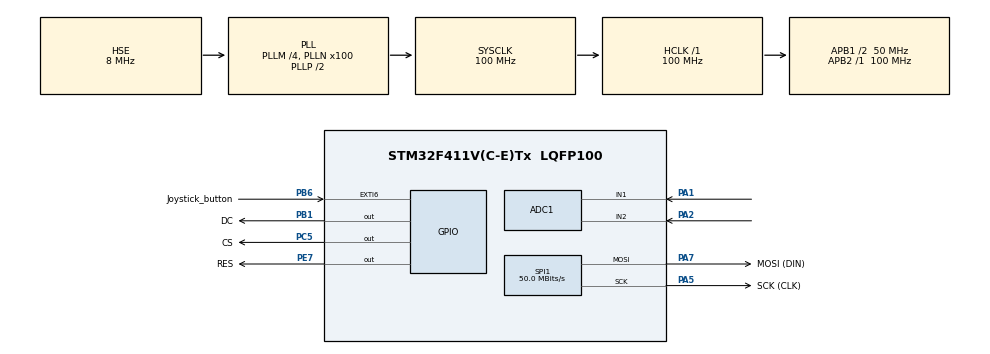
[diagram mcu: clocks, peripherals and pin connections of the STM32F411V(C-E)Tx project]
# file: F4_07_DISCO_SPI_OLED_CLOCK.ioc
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ADC1.Channel-0\#ChannelRegularConversion=ADC_CHANNEL_1
ADC1.Channel-1\#ChannelRegularConversion=ADC_CHANNEL_2
ADC1.ClockPrescaler=ADC_CLOCK_SYNC_PCLK_DIV8
ADC1.ContinuousConvMode=ENABLE
ADC1.DMAContinuousRequests=ENABLE
ADC1.NbrOfConversion=2
ADC1.NbrOfConversionFlag=1
ADC1.Rank-0\#ChannelRegularConversion=1
ADC1.Rank-1\#ChannelRegularConversion=2
ADC1.SamplingTime-0\#ChannelRegularConversion=ADC_SAMPLETIME_480CYCLES
ADC1.SamplingTime-1\#ChannelRegularConversion=ADC_SAMPLETIME_480CYCLES
ADC1.ScanConvMode=ENABLE
ADC1.master=1
Dma.ADC1.0.Direction=DMA_PERIPH_TO_MEMORY
Dma.ADC1.0.FIFOMode=DMA_FIFOMODE_DISABLE
Dma.ADC1.0.Instance=DMA2_Stream0
Dma.ADC1.0.MemDataAlignment=DMA_MDATAALIGN_HALFWORD
Dma.ADC1.0.MemInc=DMA_MINC_ENABLE
Dma.ADC1.0.Mode=DMA_CIRCULAR
Dma.ADC1.0.PeriphDataAlignment=DMA_PDATAALIGN_HALFWORD
Dma.ADC1.0.PeriphInc=DMA_PINC_DISABLE
Dma.ADC1.0.Priority=DMA_PRIORITY_LOW
Dma.Request0=ADC1
Mcu.Family=STM32F4
Mcu.Name=STM32F411V(C-E)Tx
Mcu.Package=LQFP100
NVIC.DMA2_Stream0_IRQn=true\:0\:0\:false\:false\:true\:false\:true\:true
NVIC.EXTI9_5_IRQn=true\:0\:0\:false\:false\:true\:true\:true\:true
NVIC.PriorityGroup=NVIC_PRIORITYGROUP_0
NVIC.TIM1_UP_TIM10_IRQn=true\:0\:0\:false\:false\:true\:true\:true\:true
PA1.Signal=ADCx_IN1
PA13.GPIO_Label=SWDIO
PA13.Mode=Serial_Wire
PA13.Signal=SYS_JTMS-SWDIO
PA14.GPIO_Label=SWCLK
PA14.Mode=Serial_Wire
PA14.Signal=SYS_JTCK-SWCLK
PA2.Signal=ADCx_IN2
PA5.GPIO_Label=SCK (CLK)
PA5.Mode=TX_Only_Simplex_Unidirect_Master
PA5.Signal=SPI1_SCK
PA7.GPIO_Label=MOSI (DIN)
PA7.Mode=TX_Only_Simplex_Unidirect_Master
PA7.Signal=SPI1_MOSI
PB1.GPIO_Label=DC
PB1.Signal=GPIO_Output
PB3.GPIO_Label=SWO
PB3.Signal=SYS_JTDO-SWO
PB6.GPIO_Label=Joystick_button
PB6.GPIO_PuPd=GPIO_NOPULL
PB6.Signal=GPXTI6
PC5.GPIO_Label=CS
PC5.Signal=GPIO_Output
PE7.GPIO_Label=RES
PE7.Signal=GPIO_Output
PH0\ -\ OSC_IN.GPIO_Label=PH0-OSC_IN
PH0\ -\ OSC_IN.Mode=HSE-External-Oscillator
PH0\ -\ OSC_IN.Signal=RCC_OSC_IN
PH1\ -\ OSC_OUT.GPIO_Label=PH1-OSC_OUT
PH1\ -\ OSC_OUT.Mode=HSE-External-Oscillator
PH1\ -\ OSC_OUT.Signal=RCC_OSC_OUT
ProjectManager.HeapSize=0x200
ProjectManager.StackSize=0x400
ProjectManager.TargetToolchain=STM32CubeIDE
RCC.48MHZClocksFreq_Value=25000000
RCC.AHBFreq_Value=100000000
RCC.APB1CLKDivider=RCC_HCLK_DIV2
RCC.APB1Freq_Value=50000000
RCC.APB1TimFreq_Value=100000000
RCC.APB2Freq_Value=100000000
RCC.APB2TimFreq_Value=100000000
RCC.CortexFreq_Value=100000000
RCC.HCLKFreq_Value=100000000
RCC.HSE_VALUE=8000000
RCC.HSI_VALUE=16000000
RCC.LSE_VALUE=32768
RCC.PLLI2SM=5
RCC.PLLI2SN=200
RCC.PLLM=4
RCC.PLLN=100
RCC.PLLQ=8
RCC.PLLSourceVirtual=RCC_PLLSOURCE_HSE
RCC.SYSCLKFreq_VALUE=100000000
RCC.SYSCLKSource=RCC_SYSCLKSOURCE_PLLCLK
RCC.VCOOutputFreq_Value=200000000
SH.ADCx_IN1.0=ADC1_IN1,IN1
SH.ADCx_IN2.0=ADC1_IN2,IN2
SPI1.CLKPhase=SPI_PHASE_2EDGE
SPI1.CLKPolarity=SPI_POLARITY_HIGH
SPI1.CalculateBaudRate=50.0 MBits/s
SPI1.Direction=SPI_DIRECTION_2LINES
SPI1.Mode=SPI_MODE_MASTER
SPI1.VirtualType=VM_MASTER
TIM10.Period=9999
TIM10.Prescaler=9999
VP_TIM10_VS_ClockSourceINT.Mode=Enable_Timer
board=STM32F411E-DISCO

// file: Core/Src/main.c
/* USER CODE BEGIN Header */
/**
  ******************************************************************************
  * @file           : main.c
  * @brief          : Main program body
  ******************************************************************************
  * @attention
  *
  * Copyright (c) 2023 STMicroelectronics.
  * All rights reserved.
  *
  * This software is licensed under terms that can be found in the LICENSE file
  * in the root directory of this software component.
  * If no LICENSE file comes with this software, it is provided AS-IS.
  *
  ******************************************************************************
  */
/* USER CODE END Header */
#include "main.h"
#include "adc.h"
#include "dma.h"
#include "spi.h"
#include "tim.h"
#include "gpio.h"

/* USER CODE BEGIN Includes */
#include "SSD1331.h"
#include <stdio.h>
#include "stdbool.h"
#include <LB_date.h>
#include <LB_time.h>
/* USER CODE END Includes */

/* USER CODE BEGIN PTD */
typedef enum {
	print_time,
	set_time_h,
	set_time_m,
	set_time_s,
	set_date_y,
	set_date_m,
	set_date_d
} clock_state_e;

/* USER CODE END PTD */

/* USER CODE BEGIN PD */
#define COLOR_TIME GREEN
#define COLOR_DATE PURPLE
#define CENTER_X 17
#define CENTER_Y 35
#define LINE_OFFSET_X 0
#define LINE_OFFSET_Y 17
#define LINE_PITCH_X 24
#define LINE_LENGTH_X 15
#define LINE_LENGTH_DAY_X 15
#define LINE_LENGTH_MONTH_X 24
#define LINE_LENGTH_YEAR_X 31
#define END_OF_THE_LINE_TIME ( (CENTER_X) + ( (LINE_PITCH_X) * 2 ) + LINE_LENGTH_X )
#define END_OF_THE_LINE_DATE (DATE_OFFSET_X + LINE_OFFSET_X + YEAR_OFFSET + LINE_LENGTH_YEAR_X)

#define H_LINE_OFFSET_X (CENTER_X + LINE_OFFSET_X)
#define H_LINE_OFFSET_Y (CENTER_Y + LINE_OFFSET_Y)
#define M_LINE_OFFSET_X (CENTER_X + LINE_OFFSET_X + LINE_PITCH_X)
#define M_LINE_OFFSET_Y (CENTER_Y + LINE_OFFSET_Y)
#define S_LINE_OFFSET_X (CENTER_X + LINE_OFFSET_X + (LINE_PITCH_X * 2))
#define S_LINE_OFFSET_Y (CENTER_Y + LINE_OFFSET_Y)

#define D_LINE_OFFSET_X (DATE_OFFSET_X + LINE_OFFSET_X)
#define D_LINE_OFFSET_Y (DATE_OFFSET_Y + LINE_OFFSET_Y)
#define MONTH_LINE_OFFSET_X (DATE_OFFSET_X + LINE_OFFSET_X + LINE_PITCH_X)
#define MONTH_LINE_OFFSET_Y (DATE_OFFSET_Y + LINE_OFFSET_Y)
#define YEAR_OFFSET (LINE_LENGTH_DAY_X + LINE_LENGTH_MONTH_X + LINE_LENGTH_X + 2)
#define Y_LINE_OFFSET_X (DATE_OFFSET_X + LINE_OFFSET_X + YEAR_OFFSET)
#define Y_LINE_OFFSET_Y (DATE_OFFSET_Y + LINE_OFFSET_Y)

#define DATE_OFFSET_X (CENTER_X - 13)
#define DATE_OFFSET_Y (CENTER_Y - 20)

#define JOYSTICK_LOWER_LIMIT 1050
#define JOYSTICK_UPPER_LIMIT 3050
#define JOYSTICK_DELAY 268
#define JOYSTICK_LEFT (Joystick[0] < JOYSTICK_LOWER_LIMIT)
#define JOYSTICK_RIGHT (Joystick[0] > JOYSTICK_UPPER_LIMIT)
#define JOYSTICK_UP (Joystick[1] > JOYSTICK_UPPER_LIMIT)
#define JOYSTICK_DOWN (Joystick[1] < JOYSTICK_LOWER_LIMIT)
/* USER CODE END PD */

/* USER CODE BEGIN PV */
uint8_t message_date[12];
uint8_t message_time[9];
Time_t time;
Date_t today;
clock_state_e state = print_time;

uint16_t Joystick[2];				// 0 - X, 1 - Y

volatile bool j_gpio_pressed = false;

/* USER CODE END PV */

void SystemClock_Config(void);
/* USER CODE BEGIN PFP */
void HAL_TIM_PeriodElapsedCallback(TIM_HandleTypeDef *htim);

void HAL_GPIO_EXTI_Callback(uint16_t GPIO_Pin);

void LB_PrintfTime(Time_t * ptime);
void LB_SetHours(Time_t * ptime);
void LB_SetMinutes(Time_t * ptime);
void LB_SetSeconds(Time_t * ptime);
void LB_SetYear(Date_t * pdate);
void LB_SetMonth(Date_t * pdate);
void LB_SetDay(Date_t * pdate);
/* USER CODE END PFP */

int main(void)
{

  /* MCU Configuration--------------------------------------------------------*/

  /* Reset of all peripherals, Initializes the Flash interface and the Systick. */
  HAL_Init();

  /* Configure the system clock */
  SystemClock_Config();

  /* Initialize all configured peripherals */
  MX_GPIO_Init();
  MX_DMA_Init();
  MX_SPI1_Init();
  MX_TIM10_Init();
  MX_ADC1_Init();
  /* USER CODE BEGIN 2 */
  LB_Init_Date(&today);
  LB_Init_Time(&time);
  ssd1331_init();
  HAL_ADC_Start_DMA(&hadc1, (uint32_t*) Joystick, 2);
  ssd1331_clear_screen(BLACK);
  HAL_Delay(1000);
  HAL_TIM_Base_Start_IT(&htim10);
  LB_Date_to_Str(&today, (char *) message_date);
  ssd1331_display_string(DATE_OFFSET_X, DATE_OFFSET_Y, message_date, FONT_1608, COLOR_DATE);
  /* USER CODE END 2 */

  /* Infinite loop */
  /* USER CODE BEGIN WHILE */
  while (1)
  {
	  if (j_gpio_pressed)
	  {
			if (set_time_h == state || set_time_m == state || set_time_s == state)
			{
				state = set_date_d;
				ssd1331_draw_line(H_LINE_OFFSET_X, H_LINE_OFFSET_Y, END_OF_THE_LINE_TIME, H_LINE_OFFSET_Y, BLACK);
			}
			else if (set_date_y == state || set_date_m == state || set_date_d == state)
			{
				state = print_time;
				ssd1331_draw_line(DATE_OFFSET_X, D_LINE_OFFSET_Y, END_OF_THE_LINE_DATE, D_LINE_OFFSET_Y, BLACK);
			}
			else
			{
				state = set_time_s;
			}
			HAL_Delay(200);
			__HAL_PWR_PVD_EXTI_ENABLE_IT();
			j_gpio_pressed = false;
	  }

	  switch (state)
	  {
	  case print_time:
		  LB_PrintfTime(&time);
		  break;
	  case set_time_h:
		  LB_SetHours(&time);
		  break;
	  case set_time_m:
		  LB_SetMinutes(&time);
		  break;
	  case set_time_s:
		  LB_SetSeconds(&time);
		  break;
	  case set_date_y:
		  LB_SetYear(&today);
		  break;
	  case set_date_m:
		  LB_SetMonth(&today);
		  break;
	  case set_date_d:
		  LB_SetDay(&today);
		  break;
	  }
    /* USER CODE END WHILE */

  }
}

void SystemClock_Config(void)
{
  RCC_OscInitTypeDef RCC_OscInitStruct = {0};
  RCC_ClkInitTypeDef RCC_ClkInitStruct = {0};

  /** Configure the main internal regulator output voltage
  */
  __HAL_RCC_PWR_CLK_ENABLE();
  __HAL_PWR_VOLTAGESCALING_CONFIG(PWR_REGULATOR_VOLTAGE_SCALE1);

  /** Initializes the RCC Oscillators according to the specified parameters
  * in the RCC_OscInitTypeDef structure.
  */
  RCC_OscInitStruct.OscillatorType = RCC_OSCILLATORTYPE_HSE;
  RCC_OscInitStruct.HSEState = RCC_HSE_ON;
  RCC_OscInitStruct.PLL.PLLState = RCC_PLL_ON;
  RCC_OscInitStruct.PLL.PLLSource = RCC_PLLSOURCE_HSE;
  RCC_OscInitStruct.PLL.PLLM = 4;
  RCC_OscInitStruct.PLL.PLLN = 100;
  RCC_OscInitStruct.PLL.PLLP = RCC_PLLP_DIV2;
  RCC_OscInitStruct.PLL.PLLQ = 8;
  if (HAL_RCC_OscConfig(&RCC_OscInitStruct) != HAL_OK)
  {
    Error_Handler();
  }

  /** Initializes the CPU, AHB and APB buses clocks
  */
  RCC_ClkInitStruct.ClockType = RCC_CLOCKTYPE_HCLK|RCC_CLOCKTYPE_SYSCLK
                              |RCC_CLOCKTYPE_PCLK1|RCC_CLOCKTYPE_PCLK2;
  RCC_ClkInitStruct.SYSCLKSource = RCC_SYSCLKSOURCE_PLLCLK;
  RCC_ClkInitStruct.AHBCLKDivider = RCC_SYSCLK_DIV1;
  RCC_ClkInitStruct.APB1CLKDivider = RCC_HCLK_DIV2;
  RCC_ClkInitStruct.APB2CLKDivider = RCC_HCLK_DIV1;

  if (HAL_RCC_ClockConfig(&RCC_ClkInitStruct, FLASH_LATENCY_3) != HAL_OK)
  {
    Error_Handler();
  }
}

/* USER CODE BEGIN 4 */
void HAL_TIM_PeriodElapsedCallback(TIM_HandleTypeDef *htim)
{

	if (TIM10 == htim->Instance && print_time == state)
	{
		//ssd1331_draw_line(H_LINE_OFFSET_X, H_LINE_OFFSET_Y, END_OF_THE_LINE_TIME, H_LINE_OFFSET_Y, BLACK);
		//ssd1331_draw_line(DATE_OFFSET_X, D_LINE_OFFSET_Y, END_OF_THE_LINE_DATE, D_LINE_OFFSET_Y, BLACK);
		ssd1331_display_string(CENTER_X, CENTER_Y, message_time, FONT_1608, BLACK);
		if (NEW_DAY == LB_Times_Ticking(&time))
		{
			ssd1331_display_string(DATE_OFFSET_X, DATE_OFFSET_Y, message_date, FONT_1608, BLACK);
			LB_Next_Day(&today);
			LB_Date_to_Str(&today, (char *) message_date);
			ssd1331_display_string(DATE_OFFSET_X, DATE_OFFSET_Y, message_date, FONT_1608, COLOR_DATE);
		}
		LB_Time_to_Str(&time, (char *) message_time);
		ssd1331_display_string(CENTER_X, CENTER_Y, message_time, FONT_1608, COLOR_TIME);
	}

}

void HAL_GPIO_EXTI_Callback(uint16_t GPIO_Pin)
{
	if (Joystick_button_Pin == GPIO_Pin)
	{

		j_gpio_pressed = true;
		__HAL_PWR_PVD_EXTI_DISABLE_IT();
	}
}

void LB_PrintfTime(Time_t * ptime)
{
	/* TODO: fill the function */
}

void LB_SetHours(Time_t * ptime)
{
	  ssd1331_draw_line(H_LINE_OFFSET_X, H_LINE_OFFSET_Y, H_LINE_OFFSET_X + LINE_LENGTH_X, H_LINE_OFFSET_Y, COLOR_TIME);
	  if (JOYSTICK_LEFT)
	  {
		  state = set_time_s;
		  ssd1331_draw_line(H_LINE_OFFSET_X, H_LINE_OFFSET_Y, H_LINE_OFFSET_X + LINE_LENGTH_X, H_LINE_OFFSET_Y, BLACK);
		  HAL_Delay(JOYSTICK_DELAY);
	  }
	  else if (JOYSTICK_RIGHT)
	  {
		  state = set_time_m;
		  ssd1331_draw_line(H_LINE_OFFSET_X, H_LINE_OFFSET_Y, H_LINE_OFFSET_X + LINE_LENGTH_X, H_LINE_OFFSET_Y, BLACK);
		  HAL_Delay(JOYSTICK_DELAY);
	  }
	  if (JOYSTICK_UP)
	  {
		  ssd1331_display_string(CENTER_X, CENTER_Y, message_time, FONT_1608, BLACK);
		  LB_Set_Next_Hour(ptime);
		  LB_Time_to_Str(ptime, (char *) message_time);
		  ssd1331_display_string(CENTER_X, CENTER_Y, message_time, FONT_1608, COLOR_TIME);
		  HAL_Delay(JOYSTICK_DELAY);
	  }
	  else if (JOYSTICK_DOWN)
	  {

		  ssd1331_display_string(CENTER_X, CENTER_Y, message_time, FONT_1608, BLACK);
		  LB_Set_Prev_Hour(ptime);
		  LB_Time_to_Str(ptime, (char *) message_time);
		  ssd1331_display_string(CENTER_X, CENTER_Y, message_time, FONT_1608, COLOR_TIME);
		  HAL_Delay(JOYSTICK_DELAY);
	  }
}

void LB_SetMinutes(Time_t * ptime)
{
	  ssd1331_draw_line(M_LINE_OFFSET_X, M_LINE_OFFSET_Y, M_LINE_OFFSET_X + LINE_LENGTH_X, M_LINE_OFFSET_Y, COLOR_TIME);
	  if (JOYSTICK_LEFT)
	  {
		  state = set_time_h;
		  ssd1331_draw_line(M_LINE_OFFSET_X, M_LINE_OFFSET_Y, M_LINE_OFFSET_X + LINE_LENGTH_X, M_LINE_OFFSET_Y, BLACK);
		  HAL_Delay(JOYSTICK_DELAY);
	  }
	  else if (JOYSTICK_RIGHT)
	  {
		  state = set_time_s;
		  ssd1331_draw_line(M_LINE_OFFSET_X, M_LINE_OFFSET_Y, M_LINE_OFFSET_X + LINE_LENGTH_X, M_LINE_OFFSET_Y, BLACK);
		  HAL_Delay(JOYSTICK_DELAY);
	  }
	  if (JOYSTICK_UP)
	  {
		  ssd1331_display_string(CENTER_X, CENTER_Y, message_time, FONT_1608, BLACK);
		  LB_Set_Next_Minute(ptime);
		  LB_Time_to_Str(ptime, (char *) message_time);
		  ssd1331_display_string(CENTER_X, CENTER_Y, message_time, FONT_1608, COLOR_TIME);
		  HAL_Delay(JOYSTICK_DELAY);
	  }
	  else if (JOYSTICK_DOWN)
	  {
		  ssd1331_display_string(CENTER_X, CENTER_Y, message_time, FONT_1608, BLACK);
		  LB_Set_Prev_Minute(ptime);
		  LB_Time_to_Str(ptime, (char *) message_time);
		  ssd1331_display_string(CENTER_X, CENTER_Y, message_time, FONT_1608, COLOR_TIME);
		  HAL_Delay(JOYSTICK_DELAY);
	  }
}
void LB_SetSeconds(Time_t * ptime)
{
	  ssd1331_draw_line(S_LINE_OFFSET_X, S_LINE_OFFSET_Y, S_LINE_OFFSET_X + LINE_LENGTH_X, S_LINE_OFFSET_Y, COLOR_TIME);
	  if (JOYSTICK_LEFT)
	  {
		  state = set_time_m;
		  ssd1331_draw_line(S_LINE_OFFSET_X, S_LINE_OFFSET_Y, S_LINE_OFFSET_X + LINE_LENGTH_X, S_LINE_OFFSET_Y, BLACK);
		  HAL_Delay(JOYSTICK_DELAY);
	  }
	  else if (JOYSTICK_RIGHT)
	  {
		  state = set_time_h;
		  ssd1331_draw_line(S_LINE_OFFSET_X, S_LINE_OFFSET_Y, S_LINE_OFFSET_X + LINE_LENGTH_X, S_LINE_OFFSET_Y, BLACK);
		  HAL_Delay(JOYSTICK_DELAY);
	  }
	  if (JOYSTICK_UP)
	  {
		  ssd1331_display_string(CENTER_X, CENTER_Y, message_time, FONT_1608, BLACK);
		  LB_Set_Next_Second(ptime);
		  LB_Time_to_Str(ptime, (char *) message_time);
		  ssd1331_display_string(CENTER_X, CENTER_Y, message_time, FONT_1608, COLOR_TIME);
		  HAL_Delay(JOYSTICK_DELAY);
	  }
	  else if (JOYSTICK_DOWN)
	  {
		  ssd1331_display_string(CENTER_X, CENTER_Y, message_time, FONT_1608, BLACK);
		  LB_Set_Prev_Second(ptime);
		  LB_Time_to_Str(ptime, (char *) message_time);
		  ssd1331_display_string(CENTER_X, CENTER_Y, message_time, FONT_1608, COLOR_TIME);
		  HAL_Delay(JOYSTICK_DELAY);
	  }
}

void LB_SetYear(Date_t * pdate)
{
	  ssd1331_draw_line(Y_LINE_OFFSET_X, Y_LINE_OFFSET_Y, Y_LINE_OFFSET_X + LINE_LENGTH_YEAR_X, Y_LINE_OFFSET_Y, COLOR_DATE);
	  if (JOYSTICK_LEFT)
	  {
		  state = set_date_m;
		  ssd1331_draw_line(Y_LINE_OFFSET_X, Y_LINE_OFFSET_Y, Y_LINE_OFFSET_X + LINE_LENGTH_YEAR_X, Y_LINE_OFFSET_Y, BLACK);
		  HAL_Delay(JOYSTICK_DELAY);
	  }
	  else if (JOYSTICK_RIGHT)
	  {
		  state = set_date_d;
		  ssd1331_draw_line(Y_LINE_OFFSET_X, Y_LINE_OFFSET_Y, Y_LINE_OFFSET_X + LINE_LENGTH_YEAR_X, Y_LINE_OFFSET_Y, BLACK);
		  HAL_Delay(JOYSTICK_DELAY);
	  }
	  if (JOYSTICK_UP)
	  {
		  ssd1331_display_string(DATE_OFFSET_X, DATE_OFFSET_Y, message_date, FONT_1608, BLACK);
		  LB_Next_Year(pdate);
		  LB_Date_to_Str(pdate, (char *) message_date);
		  ssd1331_display_string(DATE_OFFSET_X, DATE_OFFSET_Y, message_date, FONT_1608, COLOR_DATE);
		  HAL_Delay(JOYSTICK_DELAY);
	  }
	  else if (JOYSTICK_DOWN)
	  {

		  ssd1331_display_string(DATE_OFFSET_X, DATE_OFFSET_Y, message_date, FONT_1608, BLACK);
		  LB_Prev_Year(pdate);
		  LB_Date_to_Str(pdate, (char *) message_date);
		  ssd1331_display_string(DATE_OFFSET_X, DATE_OFFSET_Y, message_date, FONT_1608, COLOR_DATE);
		  HAL_Delay(JOYSTICK_DELAY);
	  }
}

void LB_SetMonth(Date_t * pdate)
{
	  ssd1331_draw_line(MONTH_LINE_OFFSET_X, MONTH_LINE_OFFSET_Y, MONTH_LINE_OFFSET_X + LINE_LENGTH_MONTH_X, MONTH_LINE_OFFSET_Y, COLOR_DATE);
	  if (JOYSTICK_LEFT)
	  {
		  state = set_date_d;
		  ssd1331_draw_line(MONTH_LINE_OFFSET_X, MONTH_LINE_OFFSET_Y, MONTH_LINE_OFFSET_X + LINE_LENGTH_MONTH_X, MONTH_LINE_OFFSET_Y, BLACK);
		  HAL_Delay(JOYSTICK_DELAY);
	  }
	  else if (JOYSTICK_RIGHT)
	  {
		  state = set_date_y;
		  ssd1331_draw_line(MONTH_LINE_OFFSET_X, MONTH_LINE_OFFSET_Y, MONTH_LINE_OFFSET_X + LINE_LENGTH_MONTH_X, MONTH_LINE_OFFSET_Y, BLACK);
		  HAL_Delay(JOYSTICK_DELAY);
	  }
	  if (JOYSTICK_UP)
	  {
		  ssd1331_display_string(DATE_OFFSET_X, DATE_OFFSET_Y, message_date, FONT_1608, BLACK);
		  LB_Next_Month(pdate);
		  LB_Date_to_Str(pdate, (char *) message_date);
		  ssd1331_display_string(DATE_OFFSET_X, DATE_OFFSET_Y, message_date, FONT_1608, COLOR_DATE);
		  HAL_Delay(JOYSTICK_DELAY);
	  }
	  else if (JOYSTICK_DOWN)
	  {
		  ssd1331_display_string(DATE_OFFSET_X, DATE_OFFSET_Y, message_date, FONT_1608, BLACK);
		  LB_Prev_Month(pdate);
		  LB_Date_to_Str(pdate, (char *) message_date);
		  ssd1331_display_string(DATE_OFFSET_X, DATE_OFFSET_Y, message_date, FONT_1608, COLOR_DATE);
		  HAL_Delay(JOYSTICK_DELAY);
	  }
}
void LB_SetDay(Date_t * pdate)
{
	  ssd1331_draw_line(D_LINE_OFFSET_X, D_LINE_OFFSET_Y, D_LINE_OFFSET_X + LINE_LENGTH_DAY_X, D_LINE_OFFSET_Y, COLOR_DATE);
	  if (JOYSTICK_LEFT)
	  {
		  state = set_date_y;
		  ssd1331_draw_line(D_LINE_OFFSET_X, D_LINE_OFFSET_Y, D_LINE_OFFSET_X + LINE_LENGTH_DAY_X, D_LINE_OFFSET_Y, BLACK);
		  HAL_Delay(JOYSTICK_DELAY);
	  }
	  else if (JOYSTICK_RIGHT)
	  {
		  state = set_date_m;
		  ssd1331_draw_line(D_LINE_OFFSET_X, D_LINE_OFFSET_Y, D_LINE_OFFSET_X + LINE_LENGTH_DAY_X, D_LINE_OFFSET_Y, BLACK);
		  HAL_Delay(JOYSTICK_DELAY);
	  }
	  if (JOYSTICK_UP)
	  {
		  ssd1331_display_string(DATE_OFFSET_X, DATE_OFFSET_Y, message_date, FONT_1608, BLACK);
		  LB_Next_Day(pdate);
		  LB_Date_to_Str(pdate, (char *) message_date);
		  ssd1331_display_string(DATE_OFFSET_X, DATE_OFFSET_Y, message_date, FONT_1608, COLOR_DATE);
		  HAL_Delay(JOYSTICK_DELAY);
	  }
	  else if (JOYSTICK_DOWN)
	  {
		  ssd1331_display_string(DATE_OFFSET_X, DATE_OFFSET_Y, message_date, FONT_1608, BLACK);
		  LB_Prev_Day(pdate);
		  LB_Date_to_Str(pdate, (char *) message_date);
		  ssd1331_display_string(DATE_OFFSET_X, DATE_OFFSET_Y, message_date, FONT_1608, COLOR_DATE);
		  HAL_Delay(JOYSTICK_DELAY);
	  }
}

/* USER CODE END 4 */

void Error_Handler(void)
{
  __disable_irq();
  while (1)
  {
  }
}
